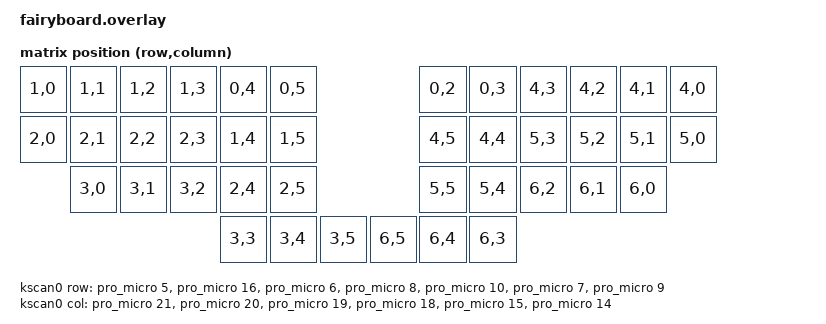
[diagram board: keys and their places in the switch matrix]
#include <dt-bindings/zmk/matrix_transform.h>

/ {
    chosen {
        zephyr,display = &oled;
        zmk,kscan = &kscan0;
        zmk,matrix-transform = &default_transform;
    };

    kscan0: kscan_0 {
        compatible = "zmk,kscan-gpio-matrix";
        diode-direction = "col2row";
        wakeup-source;

        col-gpios
            = <&pro_micro 21 GPIO_ACTIVE_HIGH>
            , <&pro_micro 20 GPIO_ACTIVE_HIGH>
            , <&pro_micro 19 GPIO_ACTIVE_HIGH>
            , <&pro_micro 18 GPIO_ACTIVE_HIGH>
            , <&pro_micro 15 GPIO_ACTIVE_HIGH>
            , <&pro_micro 14 GPIO_ACTIVE_HIGH>
            ;

        row-gpios
            = <&pro_micro  5 (GPIO_ACTIVE_HIGH | GPIO_PULL_DOWN)>
            , <&pro_micro 16 (GPIO_ACTIVE_HIGH | GPIO_PULL_DOWN)>
            , <&pro_micro  6 (GPIO_ACTIVE_HIGH | GPIO_PULL_DOWN)>
            , <&pro_micro  8 (GPIO_ACTIVE_HIGH | GPIO_PULL_DOWN)>
            , <&pro_micro 10 (GPIO_ACTIVE_HIGH | GPIO_PULL_DOWN)>
            , <&pro_micro  7 (GPIO_ACTIVE_HIGH | GPIO_PULL_DOWN)>
            , <&pro_micro  9 (GPIO_ACTIVE_HIGH | GPIO_PULL_DOWN)>
            ;
    };

    default_transform: keymap_transform_0 {
        compatible = "zmk,matrix-transform";
        columns = <8>;
        rows = <8>;
// | MX1  | MX2  | MX3  | MX4  | MX5  | MX6  |                    | MX7  | MX8  | MX9  | MX10 | MX11 | MX12 |
// | MX13 | MX14 | MX15 | MX16 | MX17 | MX18 |                    | MX19 | MX20 | MX21 | MX22 | MX23 | MX24 |
//        | MX25 | MX26 | MX27 | MX28 | MX29 |                    | MX30 | MX31 | MX32 | MX33 | MX34 |
//                             | MX35 | MX36 | MX37 |      | MX38 | MX39 | MX40 |

        map = <
RC(1,0)  RC(1,1)  RC(1,2)  RC(1,3)  RC(0,4)  RC(0,5)                          RC(0,2)  RC(0,3)  RC(4,3)  RC(4,2)  RC(4,1)  RC(4,0)
RC(2,0)  RC(2,1)  RC(2,2)  RC(2,3)  RC(1,4)  RC(1,5)                          RC(4,5)  RC(4,4)  RC(5,3)  RC(5,2)  RC(5,1)  RC(5,0)
         RC(3,0)  RC(3,1)  RC(3,2)  RC(2,4)  RC(2,5)                          RC(5,5)  RC(5,4)  RC(6,2)  RC(6,1)  RC(6,0)
                                    RC(3,3)  RC(3,4)  RC(3,5)        RC(6,5)  RC(6,4)  RC(6,3)
        >;
    };
};

&pro_micro_i2c {
    status = "okay";

    oled: ssd1306@3c {
        compatible = "solomon,ssd1306fb";
        reg = <0x3c>;
        width = <128>;
        height = <64>;
        segment-offset = <0>;
        page-offset = <0>;
        display-offset = <0>;
        multiplex-ratio = <63>;
        prechargep = <0x22>;
        inversion-on;
    };
};
